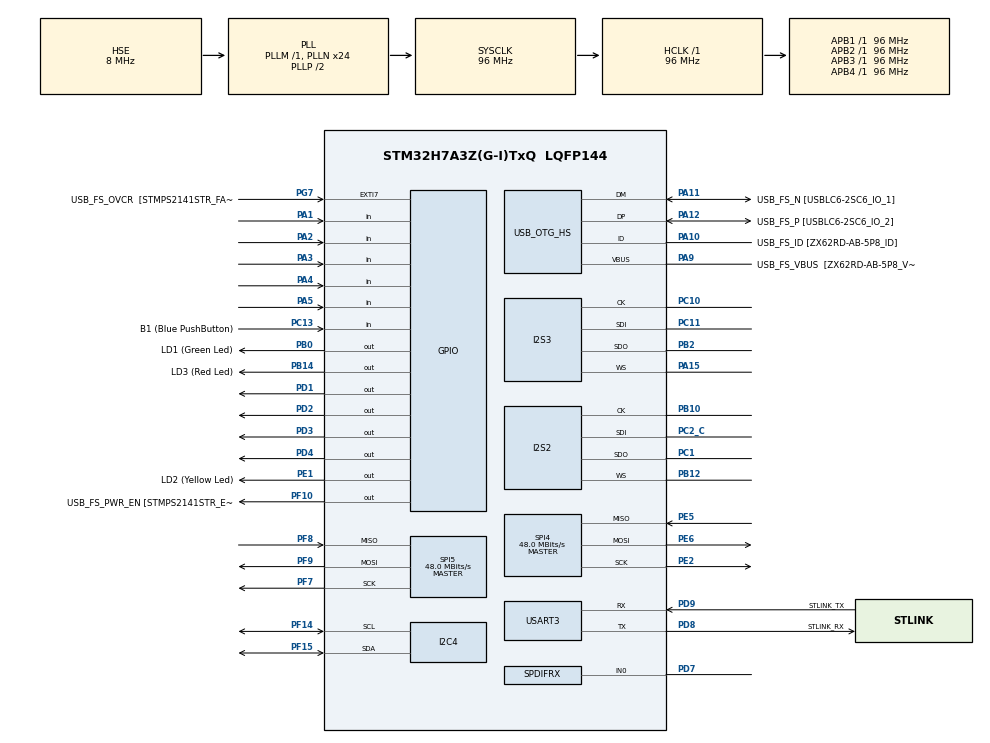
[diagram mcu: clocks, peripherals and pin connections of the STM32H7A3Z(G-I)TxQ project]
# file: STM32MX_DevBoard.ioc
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I2C4.Timing=0x10B0DCFB
I2S2.ErrorAudioFreq=0.0 %
I2S2.Instance=SPI$Index
I2S2.RealAudioFreq=8.0 KHz
I2S3.ErrorAudioFreq=0.0 %
I2S3.Instance=SPI$Index
I2S3.RealAudioFreq=8.0 KHz
Mcu.Family=STM32H7
Mcu.Name=STM32H7A3Z(G-I)TxQ
Mcu.Package=LQFP144
NVIC.PriorityGroup=NVIC_PRIORITYGROUP_4
PA1.GPIO_PuPd=GPIO_PULLUP
PA1.Signal=GPIO_Input
PA10.GPIO_Label=USB_FS_ID [ZX62RD-AB-5P8_ID]
PA10.Mode=OTG/Dual-Role-Device-FS
PA10.Signal=USB_OTG_HS_ID
PA11.GPIO_Label=USB_FS_N [USBLC6-2SC6_IO_1]
PA11.Mode=OTG/Dual-Role-Device-FS
PA11.Signal=USB_OTG_HS_DM
PA12.GPIO_Label=USB_FS_P [USBLC6-2SC6_IO_2]
PA12.Mode=OTG/Dual-Role-Device-FS
PA12.Signal=USB_OTG_HS_DP
PA13.Mode=Serial_Wire
PA13.Signal=DEBUG_JTMS-SWDIO
PA14.Mode=Serial_Wire
PA14.Signal=DEBUG_JTCK-SWCLK
PA15.Mode=Full_Duplex_Master
PA15.Signal=I2S3_WS
PA2.GPIO_PuPd=GPIO_PULLUP
PA2.Signal=GPIO_Input
PA3.GPIO_PuPd=GPIO_PULLUP
PA3.Signal=GPIO_Input
PA4.GPIO_PuPd=GPIO_PULLUP
PA4.Signal=GPIO_Input
PA5.GPIO_PuPd=GPIO_PULLUP
PA5.Signal=GPIO_Input
PA9.GPIO_Label=USB_FS_VBUS  [ZX62RD-AB-5P8_VBUS]
PA9.Mode=Activate_VBUS_FS
PA9.Signal=USB_OTG_HS_VBUS
PB0.GPIO_Label=LD1 (Green Led)
PB0.Signal=GPIO_Output
PB10.Mode=Full_Duplex_Master
PB10.Signal=I2S2_CK
PB12.Mode=Full_Duplex_Master
PB12.Signal=I2S2_WS
PB14.GPIO_Label=LD3 (Red Led)
PB14.Signal=GPIO_Output
PB2.Mode=Full_Duplex_Master
PB2.Signal=I2S3_SDO
PC1.Mode=Full_Duplex_Master
PC1.Signal=I2S2_SDO
PC10.Mode=Full_Duplex_Master
PC10.Signal=I2S3_CK
PC11.Mode=Full_Duplex_Master
PC11.Signal=I2S3_SDI
PC13.GPIO_Label=B1 (Blue PushButton)
PC13.Signal=GPIO_Input
PC14-OSC32_IN.GPIO_Label=OSC32_IN
PC14-OSC32_IN.Mode=LSE-External-Oscillator
PC14-OSC32_IN.Signal=RCC_OSC32_IN
PC15-OSC32_OUT.GPIO_Label=OSC32_OUT
PC15-OSC32_OUT.Mode=LSE-External-Oscillator
PC15-OSC32_OUT.Signal=RCC_OSC32_OUT
PC2_C.Mode=Full_Duplex_Master
PC2_C.Signal=I2S2_SDI
PD1.Signal=GPIO_Output
PD2.Signal=GPIO_Output
PD3.Signal=GPIO_Output
PD4.Signal=GPIO_Output
PD7.Mode=IN0
PD7.Signal=SPDIFRX_IN0
PD8.GPIO_Label=STLINK_RX
PD8.Mode=Asynchronous
PD8.Signal=USART3_TX
PD9.GPIO_Label=STLINK_TX
PD9.Mode=Asynchronous
PD9.Signal=USART3_RX
PE1.GPIO_Label=LD2 (Yellow Led)
PE1.Signal=GPIO_Output
PE2.Mode=Full_Duplex_Master
PE2.Signal=SPI4_SCK
PE5.Mode=Full_Duplex_Master
PE5.Signal=SPI4_MISO
PE6.Mode=Full_Duplex_Master
PE6.Signal=SPI4_MOSI
PF10.GPIO_Label=USB_FS_PWR_EN [STMPS2141STR_EN]
PF10.Signal=GPIO_Output
PF14.Mode=I2C
PF14.Signal=I2C4_SCL
PF15.Mode=I2C
PF15.Signal=I2C4_SDA
PF7.Mode=Full_Duplex_Master
PF7.Signal=SPI5_SCK
PF8.Mode=Full_Duplex_Master
PF8.Signal=SPI5_MISO
PF9.Mode=Full_Duplex_Master
PF9.Signal=SPI5_MOSI
PG7.GPIO_Label=USB_FS_OVCR  [STMPS2141STR_FAULT]
PG7.Signal=GPXTI7
PH0-OSC_IN.GPIO_Label=PH0-MCU
PH0-OSC_IN.Mode=HSE-External-Clock-Source
PH0-OSC_IN.Signal=RCC_OSC_IN
PH1-OSC_OUT.GPIO_Label=PH1-MCU
PH1-OSC_OUT.Signal=RCC_OSC_OUT
ProjectManager.HeapSize=0x200
ProjectManager.StackSize=0x400
ProjectManager.TargetToolchain=STM32CubeIDE
RCC.ADCFreq_Value=32000000
RCC.APB1Freq_Value=96000000
RCC.APB2Freq_Value=96000000
RCC.APB3Freq_Value=96000000
RCC.APB4Freq_Value=96000000
RCC.CortexFreq_Value=96000000
RCC.DIVM1=1
RCC.DIVM2=1
RCC.DIVM3=1
RCC.DIVN1=24
RCC.DIVN2=16
RCC.DIVN3=24
RCC.DIVP2=4
RCC.DIVQ1=4
RCC.HCLKFreq_Value=96000000
RCC.HSE_VALUE=8000000
RCC.PLL3FRACN=0
RCC.PLLFRACN=0
RCC.PLLSourceVirtual=RCC_PLLSOURCE_HSE
RCC.PWR_Regulator_Voltage_Scale=PWR_REGULATOR_VOLTAGE_SCALE0
RCC.SPI123CLockSelection=RCC_SPI123CLKSOURCE_PLL3
RCC.SYSCLKFreq_VALUE=96000000
RCC.SYSCLKSource=RCC_SYSCLKSOURCE_PLLCLK
RCC.SupplySource=PWR_DIRECT_SMPS_SUPPLY
RCC.USBCLockSelection=RCC_USBCLKSOURCE_HSI48
RCC.USBFreq_Value=48000000
SPI4.CalculateBaudRate=48.0 MBits/s
SPI4.Direction=SPI_DIRECTION_2LINES
SPI4.Mode=SPI_MODE_MASTER
SPI4.VirtualType=VM_MASTER
SPI5.CalculateBaudRate=48.0 MBits/s
SPI5.Direction=SPI_DIRECTION_2LINES
SPI5.Mode=SPI_MODE_MASTER
SPI5.VirtualType=VM_MASTER
USART3.VirtualMode-Asynchronous=VM_ASYNC
VP_MEMORYMAP_VS_MEMORYMAP.Mode=CurAppReg
board=NUCLEO-H7A3ZI-Q

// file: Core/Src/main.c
/* USER CODE BEGIN Header */
/**
  ******************************************************************************
  * @file           : main.c
  * @brief          : Main program body
  ******************************************************************************
  * @attention
  *
  * Copyright (c) 2024 STMicroelectronics.
  * All rights reserved.
  *
  * This software is licensed under terms that can be found in the LICENSE file
  * in the root directory of this software component.
  * If no LICENSE file comes with this software, it is provided AS-IS.
  *
  ******************************************************************************
  */
/* USER CODE END Header */
#include "main.h"
#include "i2c.h"
#include "i2s.h"
#include "memorymap.h"
#include "spdifrx.h"
#include "spi.h"
#include "usart.h"
#include "usb_otg.h"
#include "gpio.h"

/* USER CODE BEGIN Includes */
#define FLASH_COMMON_BANK_ADDR            0x80000000
#define FLASH_ATTRIBUTE_BANK_ADDR        0x88000000
#define FLASH_DATA_OFFSET                0x00000000
#define FLASH_COMMAND_OFFSET            0x01000000
#define FLASH_ADDRESS_OFFSET            0x02000000
/* USER CODE END Includes */

/* USER CODE BEGIN PM */
#define CLIP_LEFT_HALF (0xFFFF0000)
#define CLIP_RIGHT_HALF (0x0000FFFF)
/* USER CODE END PM */

void SystemClock_Config(void);
void PeriphCommonClock_Config(void);

int main(void)
{

  /* MCU Configuration--------------------------------------------------------*/

  /* Reset of all peripherals, Initializes the Flash interface and the Systick. */
  HAL_Init();

  /* Configure the system clock */
  SystemClock_Config();

  /* Configure the peripherals common clocks */
  PeriphCommonClock_Config();

  /* Initialize all configured peripherals */
  MX_GPIO_Init();
  MX_I2S2_Init();
  MX_I2S3_Init();
  MX_SPDIFRX_Init();
  MX_SPI4_Init();
  MX_SPI5_Init();
  MX_USART3_UART_Init();
  MX_USB_OTG_HS_USB_Init();
  MX_I2C4_Init();
  /* USER CODE BEGIN 2 */

  // Variable instanciation

  // Clip i Left and Right channel
  int16_t CL[12];
  int16_t CR[12];

  // Clip i Enable
  int16_t CE[12];

  // Clip i pointer, points to the memory location of the current place the clip is being read from
  // This really crams it in there
  int32_t *Cptr[12];

  for(int i = 1; i <= 12; i++) {
	  CE[i] = 0x00000000;
	  Cptr[i] = 0x80000000 + (i-1) * 2000000;
  }

  // Data to send to I2S
  int32_t output;
  /* USER CODE END 2 */

  /* Infinite loop */
  while (1)
  {

    /* USER CODE BEGIN 3 */
	  (__IO uint32_t) (FLASH_COMMON_BANK_ADDR + FLASH_DATA_OFFSET) = 42;
  }
  /* USER CODE END 3 */
}

void SystemClock_Config(void)
{
  RCC_OscInitTypeDef RCC_OscInitStruct = {0};
  RCC_ClkInitTypeDef RCC_ClkInitStruct = {0};

  /*AXI clock gating */
  RCC->CKGAENR = 0xFFFFFFFF;

  /** Supply configuration update enable
  */
  HAL_PWREx_ConfigSupply(PWR_DIRECT_SMPS_SUPPLY);

  /** Configure the main internal regulator output voltage
  */
  __HAL_PWR_VOLTAGESCALING_CONFIG(PWR_REGULATOR_VOLTAGE_SCALE0);

  while(!__HAL_PWR_GET_FLAG(PWR_FLAG_VOSRDY)) {}

  /** Initializes the RCC Oscillators according to the specified parameters
  * in the RCC_OscInitTypeDef structure.
  */
  RCC_OscInitStruct.OscillatorType = RCC_OSCILLATORTYPE_HSI48|RCC_OSCILLATORTYPE_HSE;
  RCC_OscInitStruct.HSEState = RCC_HSE_BYPASS;
  RCC_OscInitStruct.HSI48State = RCC_HSI48_ON;
  RCC_OscInitStruct.PLL.PLLState = RCC_PLL_ON;
  RCC_OscInitStruct.PLL.PLLSource = RCC_PLLSOURCE_HSE;
  RCC_OscInitStruct.PLL.PLLM = 1;
  RCC_OscInitStruct.PLL.PLLN = 24;
  RCC_OscInitStruct.PLL.PLLP = 2;
  RCC_OscInitStruct.PLL.PLLQ = 4;
  RCC_OscInitStruct.PLL.PLLR = 2;
  RCC_OscInitStruct.PLL.PLLRGE = RCC_PLL1VCIRANGE_3;
  RCC_OscInitStruct.PLL.PLLVCOSEL = RCC_PLL1VCOWIDE;
  RCC_OscInitStruct.PLL.PLLFRACN = 0;
  if (HAL_RCC_OscConfig(&RCC_OscInitStruct) != HAL_OK)
  {
    Error_Handler();
  }

  /** Initializes the CPU, AHB and APB buses clocks
  */
  RCC_ClkInitStruct.ClockType = RCC_CLOCKTYPE_HCLK|RCC_CLOCKTYPE_SYSCLK
                              |RCC_CLOCKTYPE_PCLK1|RCC_CLOCKTYPE_PCLK2
                              |RCC_CLOCKTYPE_D3PCLK1|RCC_CLOCKTYPE_D1PCLK1;
  RCC_ClkInitStruct.SYSCLKSource = RCC_SYSCLKSOURCE_PLLCLK;
  RCC_ClkInitStruct.SYSCLKDivider = RCC_SYSCLK_DIV1;
  RCC_ClkInitStruct.AHBCLKDivider = RCC_HCLK_DIV1;
  RCC_ClkInitStruct.APB3CLKDivider = RCC_APB3_DIV1;
  RCC_ClkInitStruct.APB1CLKDivider = RCC_APB1_DIV1;
  RCC_ClkInitStruct.APB2CLKDivider = RCC_APB2_DIV1;
  RCC_ClkInitStruct.APB4CLKDivider = RCC_APB4_DIV1;

  if (HAL_RCC_ClockConfig(&RCC_ClkInitStruct, FLASH_LATENCY_2) != HAL_OK)
  {
    Error_Handler();
  }
}

void PeriphCommonClock_Config(void)
{
  RCC_PeriphCLKInitTypeDef PeriphClkInitStruct = {0};

  /** Initializes the peripherals clock
  */
  PeriphClkInitStruct.PeriphClockSelection = RCC_PERIPHCLK_SPI3|RCC_PERIPHCLK_SPI2;
  PeriphClkInitStruct.PLL3.PLL3M = 1;
  PeriphClkInitStruct.PLL3.PLL3N = 24;
  PeriphClkInitStruct.PLL3.PLL3P = 2;
  PeriphClkInitStruct.PLL3.PLL3Q = 2;
  PeriphClkInitStruct.PLL3.PLL3R = 2;
  PeriphClkInitStruct.PLL3.PLL3RGE = RCC_PLL3VCIRANGE_3;
  PeriphClkInitStruct.PLL3.PLL3VCOSEL = RCC_PLL3VCOWIDE;
  PeriphClkInitStruct.PLL3.PLL3FRACN = 0;
  PeriphClkInitStruct.Spi123ClockSelection = RCC_SPI123CLKSOURCE_PLL3;
  if (HAL_RCCEx_PeriphCLKConfig(&PeriphClkInitStruct) != HAL_OK)
  {
    Error_Handler();
  }
}

void Error_Handler(void)
{
  __disable_irq();
  while (1)
  {
  }
}
